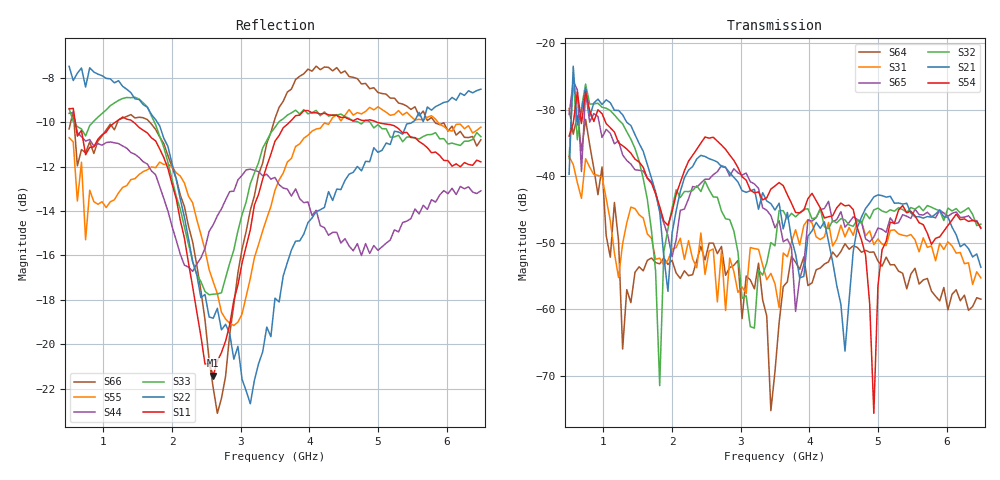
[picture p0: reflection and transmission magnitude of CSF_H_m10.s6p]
!Keysight Technologies,M9804A,MY58100912,A.14.10.03
!Date: Thursday, April 27, 2023 10:28:33
!Correction: S11(C  6-Port  )
!S12(C  6-Port  )
!S13(C  6-Port  )
!S14(C  6-Port  )
!S15(C  6-Port  )
!S16(C  6-Port  )
!S21(C  6-Port  )
!S22(C  6-Port  )
!S23(C  6-Port  )
!S24(C  6-Port  )
!S25(C  6-Port  )
!S26(C  6-Port  )
!S31(C  6-Port  )
!S32(C  6-Port  )
!S33(C  6-Port  )
!S34(C  6-Port  )
!S35(C  6-Port  )
!S36(C  6-Port  )
!S41(C  6-Port  )
!S42(C  6-Port  )
!S43(C  6-Port  )
!S44(C  6-Port  )
!S45(C  6-Port  )
!S46(C  6-Port  )
!S51(C  6-Port  )
!S52(C  6-Port  )
!S53(C  6-Port  )
!S54(C  6-Port  )
!S55(C  6-Port  )
!S56(C  6-Port  )
!S61(C  6-Port  )
!S62(C  6-Port  )
!S63(C  6-Port  )
!S64(C  6-Port  )
!S65(C  6-Port  )
!S66(C  6-Port  )
!S6P File: Measurement: :
# Hz S  RI  R 50
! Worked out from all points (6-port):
!   101 points, 500 MHz to 6.5 GHz, reference 50 ohm
!   strongest paths, dB at 500 MHz, 2 GHz, 3.5 GHz, 5 GHz, 6.5 GHz:
!     S54: -34.0, -45.3, -41.4, -56.5, -47.8
!     S21: -39.7, -48.6, -45.1, -42.8, -53.7
!     S32: -37.3, -44.8, -50.4, -44.8, -47.2
!     S65: -30.7, -52.1, -47.7, -47.8, -47.9
!     S31: -37.0, -51.0, -56.2, -49.4, -55.3
!     S64: -29.8, -52.6, -69.3, -52.7, -58.5
!   lowest |S11| = -21.4 dB at 2.6 GHz (marker M1), VSWR 1.19, Z = 42.5 + j2.19 ohm
!   |S11| at or under -10 dB: 589.7 MHz to 1.175 GHz (585.1 MHz wide, 66.3 % of centre); 1.437 GHz to 3.712 GHz (2.275 GHz wide, 88.4 % of centre); 4.983 GHz to end of sweep
